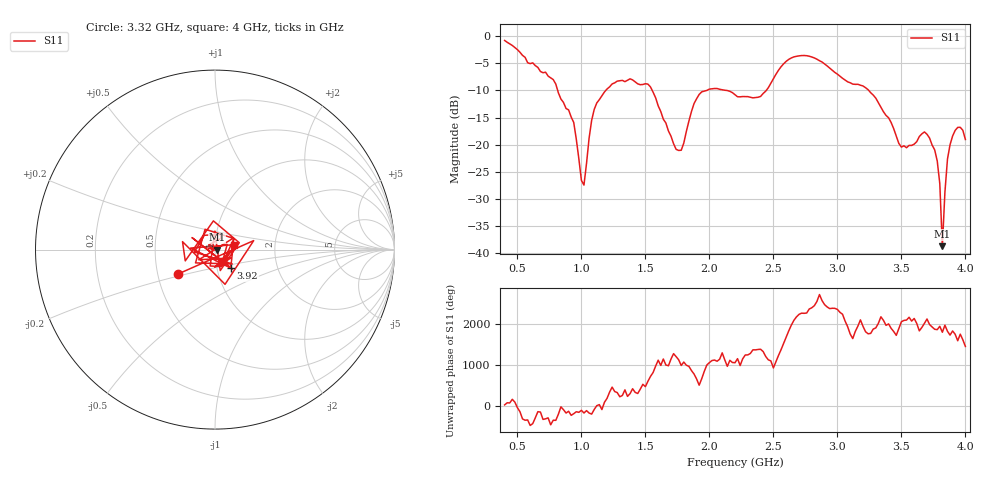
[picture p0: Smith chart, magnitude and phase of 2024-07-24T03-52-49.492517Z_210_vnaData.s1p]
!Created with skrf (http://scikit-rf.org).
# Hz S RI R 50.0
!freq ReS11 ImS11
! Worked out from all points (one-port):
!   181 points, 400 MHz to 4 GHz, reference 50 ohm
!   lowest |S11| = -38.7 dB at 3.82 GHz (marker M1), VSWR 1.02, Z = 51.2 - j0.0263 ohm
!   |S11| at or under -10 dB: 814.7 MHz to 1.19 GHz (375.6 MHz wide, 37.5 % of centre); 1.553 GHz to 1.978 GHz (424.4 MHz wide, 24 % of centre); 3.245 GHz to end of sweep (the widest 3 of 4)
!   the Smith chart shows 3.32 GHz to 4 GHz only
!   S11 on the Smith chart (normalised r, x): 3.32 GHz: 0.64, -0.18; 3.92 GHz: 1.16, -0.25; 4 GHz: 1.24, +0.07
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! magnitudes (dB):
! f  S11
! 400 MHz  -0.8
! 780 MHz  -8.0
! 860 MHz  -12.2
! 940 MHz  -15.9
! 1 GHz  -26.6
! 1.02 GHz  -27.4
! 1.06 GHz  -18.8
! 1.1 GHz  -13.5
! 1.3 GHz  -8.2
! 1.54 GHz  -9.4
! 1.76 GHz  -21.0
! 1.94 GHz  -10.3
! 2.2 GHz  -10.8
! 2.4 GHz  -11.1
! 2.66 GHz  -3.8
! 2.82 GHz  -4.0
! 3.1 GHz  -8.6
! 3.32 GHz  -12.2
! 3.5 GHz  -20.4
! 3.56 GHz  -20.1
! 3.68 GHz  -17.6
! 3.76 GHz  -20.9
! 3.8 GHz  -27.2
! 3.82 GHz  -38.7
! 3.84 GHz  -28.8
! 3.86 GHz  -22.6
! 3.92 GHz  -17.4
! 4 GHz  -19.0
